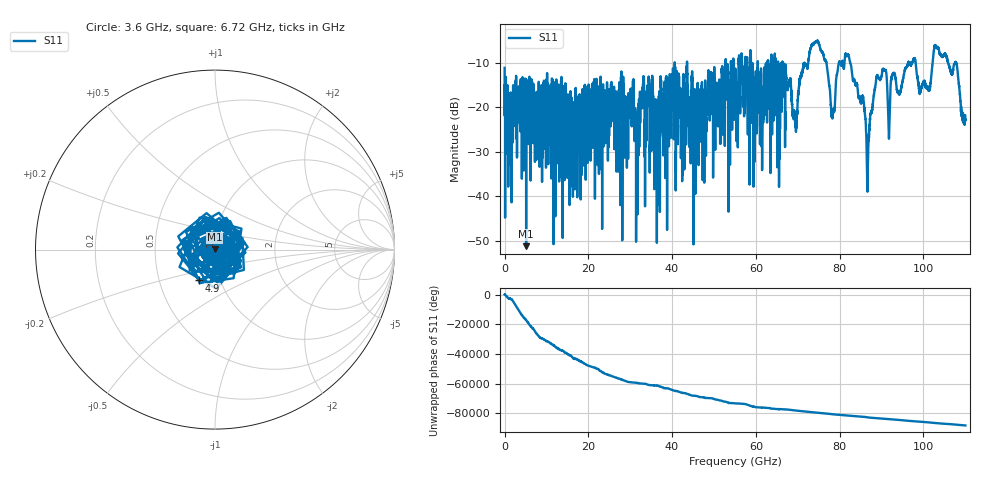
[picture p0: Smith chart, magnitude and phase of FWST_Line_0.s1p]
#  HZ  S  RI  R  50.00
! Rohde & Schwarz ZVA67 4Ports - Version 4.11 - 1305.7002k04 SN: 101032
! Date: 2026-02-18 15:01:59
! Measurement: a2d1/b2d1sam
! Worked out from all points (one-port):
!   5500 points, 20 MHz to 110 GHz, reference 50 ohm
!   lowest |S11| = -51.1 dB at 5.16 GHz (marker M1), VSWR 1.01, Z = 49.8 + j0.184 ohm
!   |S11| at or under -10 dB: start of sweep to 40.62 GHz; 43.56 GHz to 52.76 GHz (9.192 GHz wide, 19.1 % of centre); 82.52 GHz to 96.36 GHz (13.84 GHz wide, 15.5 % of centre)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
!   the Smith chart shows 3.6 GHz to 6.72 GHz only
!   S11 on the Smith chart (normalised r, x): 3.6 GHz: 1.19, -0.04; 4.9 GHz: 0.79, -0.28; 6.72 GHz: 1.06, +0.29
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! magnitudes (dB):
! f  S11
! 20 MHz  -11.1
! 1.38 GHz  -28.4
! 3.6 GHz  -21.1
! 4.9 GHz  -14.3
! 5.16 GHz  -51.1
! 6.72 GHz  -16.9
! 13.78 GHz  -24.1
! 27.52 GHz  -20.0
! 30.34 GHz  -18.8
! 31.52 GHz  -25.5
! 32.86 GHz  -20.2
! 36.24 GHz  -23.3
! 41.28 GHz  -23.9
! 45.5 GHz  -21.8
! 55.02 GHz  -16.0
! 68.76 GHz  -22.0
! 73.9 GHz  -5.7
! 78.34 GHz  -21.6
! 79.76 GHz  -10.2
! 82.52 GHz  -10.0
! 86.7 GHz  -33.0
! 88.96 GHz  -12.8
! 91.82 GHz  -25.4
! 96.26 GHz  -10.4
! 101.1 GHz  -15.4
! 103.2 GHz  -6.6
! 107.7 GHz  -9.9
! 110 GHz  -22.7
